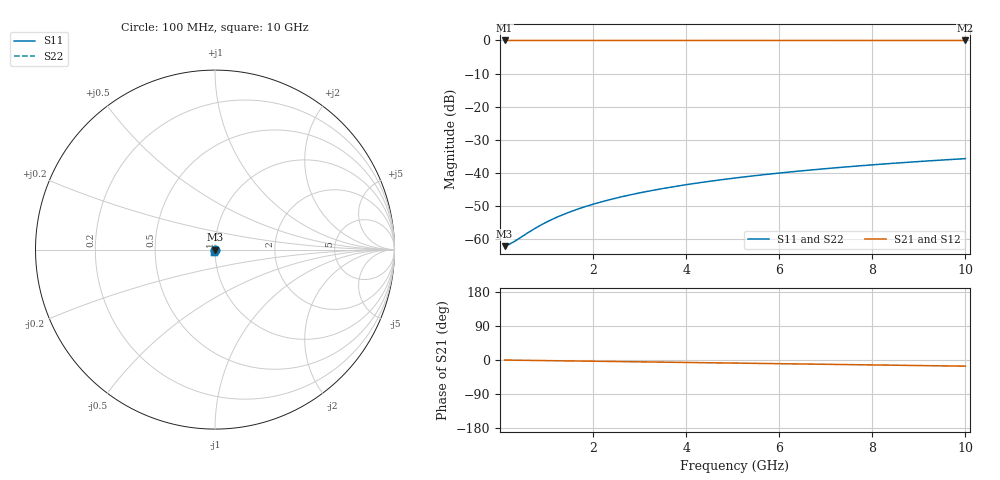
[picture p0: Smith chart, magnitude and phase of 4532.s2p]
# Hz S RI R 50.00
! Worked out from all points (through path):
!   100 points, 100 MHz to 10 GHz, reference 50 ohm
!   highest |S21| = -0.01 dB at 100 MHz (marker M1); lowest = 0.0 dB at 10 GHz (marker M2)
!   group delay of S21, straight-line fit = 4.52 ps
!   lowest |S11| = -62.1 dB at 100 MHz (marker M3), VSWR 1.00, Z = 50.1 - j0.0166 ohm
!   |S11| at or under -10 dB: start of sweep to end of sweep
!   |S22| runs from -62.1 to -35.7 dB; largest |S21 - S12| = 0
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1e8  0.000771 -0.000166  0.9992 -0.00281  0.9992 -0.00281  0.000771 -0.000166
2e8  0.000774 -0.000332  0.9992 -0.00563  0.9992 -0.00563  0.000774 -0.000332
3e8  0.000774 -0.000498  0.9992 -0.00844  0.9992 -0.00844  0.000774 -0.000498
7e8  0.00076 -0.00116  0.999 -0.0197  0.999 -0.0197  0.00076 -0.00116
8e8  0.000753 -0.00133  0.9989 -0.0225  0.9989 -0.0225  0.000753 -0.00133
1e9  0.000737 -0.00166  0.9988 -0.0281  0.9988 -0.0281  0.000737 -0.00166
1.2e9  0.000717 -0.002  0.9986 -0.0338  0.9986 -0.0338  0.000717 -0.002
1.4e9  0.000693 -0.00233  0.9984 -0.0394  0.9984 -0.0394  0.000693 -0.00233
1.6e9  0.000665 -0.00266  0.9982 -0.045  0.9982 -0.045  0.000665 -0.00266
1.8e9  0.000633 -0.003  0.9979 -0.0507  0.9979 -0.0507  0.000633 -0.003
2.1e9  0.000577 -0.0035  0.9974 -0.0591  0.9974 -0.0591  0.000577 -0.0035
2.5e9  0.00049 -0.00417  0.9967 -0.0704  0.9967 -0.0704  0.00049 -0.00417
2.9e9  0.000387 -0.00483  0.9958 -0.0816  0.9958 -0.0816  0.000387 -0.00483
3.4e9  0.000237 -0.00567  0.9945 -0.0957  0.9945 -0.0957  0.000237 -0.00567
3.8e9  9.91e-05 -0.00633  0.9934 -0.1069  0.9934 -0.1069  9.91e-05 -0.00633
4.2e9  -5.37e-05 -0.007  0.9921 -0.1182  0.9921 -0.1182  -5.37e-05 -0.007
5.1e9  -0.000453 -0.00848  0.9887 -0.1435  0.9887 -0.1435  -0.000453 -0.00848
5.9e9  -0.000873 -0.00979  0.9851 -0.1659  0.9851 -0.1659  -0.000873 -0.00979
6.7e9  -0.00135 -0.0111  0.9811 -0.1883  0.9811 -0.1883  -0.00135 -0.0111
7.5e9  -0.00189 -0.0123  0.9765 -0.2107  0.9765 -0.2107  -0.00189 -0.0123
8.4e9  -0.00256 -0.0137  0.9707 -0.2357  0.9707 -0.2357  -0.00256 -0.0137
1e10  -0.00391 -0.016  0.9588 -0.2801  0.9588 -0.2801  -0.00391 -0.016
